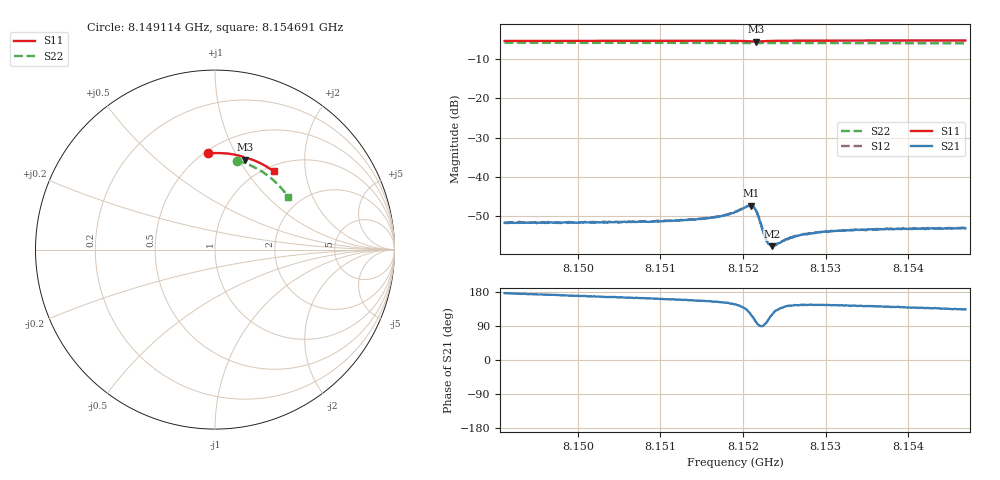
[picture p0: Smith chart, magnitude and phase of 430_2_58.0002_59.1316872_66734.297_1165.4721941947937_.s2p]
#  HZ  S  RI  R  50.00
! Rohde & Schwarz Vector Network Analyzer
! Rohde-Schwarz,ZNB20-2Port,1311601062101988,3.16
! Created: UTC 3/21/2024, 1:09:37 AM
! freq[Hz]  re:S11  im:S11  re:S21  im:S21  re:S12  im:S12  re:S22  im:S22
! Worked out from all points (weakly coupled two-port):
!   401 points, 8.149114 GHz to 8.154691 GHz, reference 50 ohm
!   highest |S21| = -47.22 dB at 8.152098 GHz (marker M1); lowest = -57.6 dB at 8.152349 GHz (marker M2)
!   lowest |S11| = -5.6 dB at 8.152153 GHz (marker M3), VSWR 3.23, Z = 38.2 + j53 ohm
!   |S11| at or under -10 dB: nowhere
!   |S22| runs from -6.0 to -5.8 dB; largest |S21 - S12| = 0.00015
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8.1491138e9  -0.0367 0.5357  -0.00262 0.000173  -0.00264 0.000225  0.1237 0.4955
8.150048e9  0.0285 0.5378  -0.00262 0.000513  -0.00262 0.000567  0.1808 0.4764
8.1509821e9  0.0934 0.5319  -0.00257 0.000878  -0.00262 0.000941  0.235 0.4508
8.151512e9  0.1304 0.5247  -0.00273 0.0012  -0.0027 0.00126  0.264 0.4332
8.151735e9  0.1463 0.5203  -0.00284 0.00148  -0.00287 0.00154  0.2759 0.4255
8.1519023e9  0.1589 0.5155  -0.00302 0.00197  -0.00299 0.00204  0.2847 0.4191
8.1520418e9  0.1686 0.5077  -0.00287 0.00309  -0.00285 0.00315  0.2917 0.4138
8.1520975e9  0.1696 0.5027  -0.00212 0.0038  -0.00209 0.00384  0.2944 0.4115
8.1521254e9  0.1685 0.5009  -0.00149 0.00392  -0.00145 0.00395  0.2958 0.4105
8.1521533e9  0.1669 0.5005  -0.000742 0.00373  -0.000741 0.00377  0.2969 0.4095
8.1521812e9  0.1657 0.5017  -0.000204 0.00324  -0.00019 0.0033  0.2983 0.4086
8.1522509e9  0.1682 0.5064  -6.37e-05 0.00189  -3.68e-05 0.00193  0.3019 0.4061
8.1522788e9  0.1706 0.5078  -0.00021 0.00157  -0.000195 0.00159  0.3033 0.4051
8.1523067e9  0.173 0.5084  -0.000406 0.00135  -0.000363 0.00141  0.3047 0.4038
8.1523485e9  0.1767 0.5086  -0.000645 0.00116  -0.000643 0.0012  0.3068 0.4025
8.1523903e9  0.1804 0.5085  -0.000875 0.00105  -0.000811 0.00109  0.3091 0.4007
8.1525437e9  0.1925 0.506  -0.00133 0.000992  -0.00128 0.000987  0.3165 0.3946
8.1526274e9  0.1985 0.5042  -0.00144 0.00101  -0.00144 0.00106  0.3206 0.3911
8.1528365e9  0.2129 0.499  -0.00159 0.00108  -0.00156 0.00109  0.3306 0.3824
8.1530875e9  0.2295 0.4922  -0.00168 0.00119  -0.00167 0.00121  0.3422 0.3712
8.1537706e9  0.2722 0.4712  -0.00168 0.00138  -0.00166 0.00141  0.3717 0.3401
8.1546908e9  0.326 0.4374  -0.00154 0.00161  -0.00154 0.00164  0.4069 0.2946
